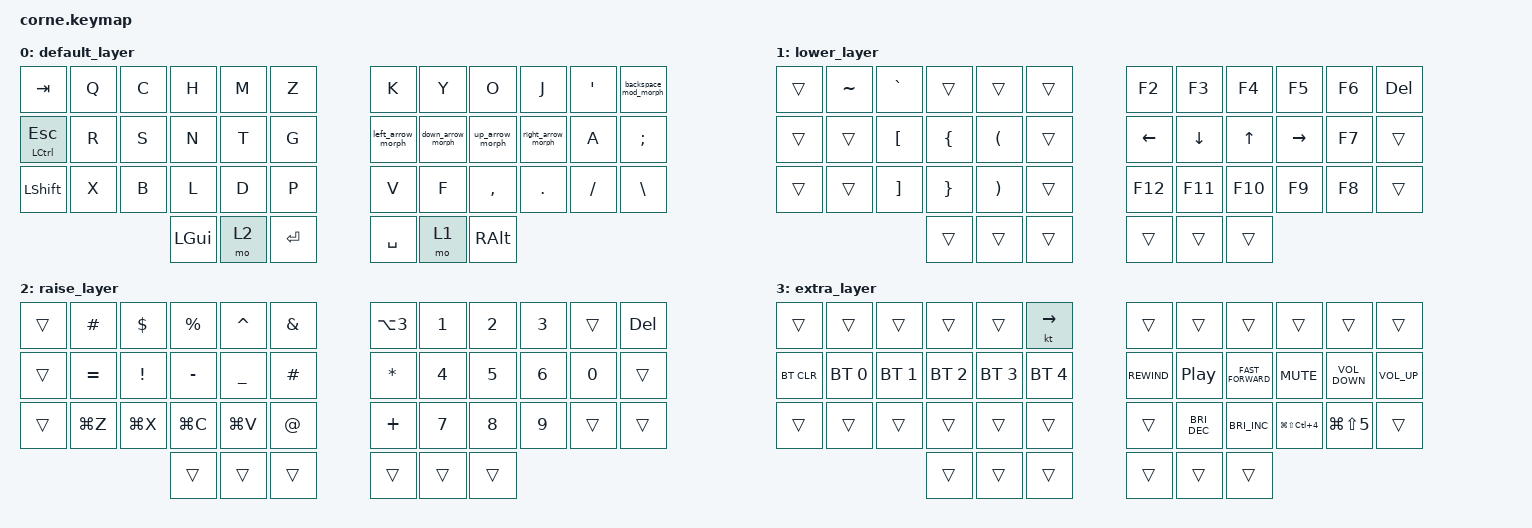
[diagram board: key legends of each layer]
/*
 * Copyright (c) 2020 The ZMK Contributors
 *
 * SPDX-License-Identifier: MIT
 */

#include <behaviors.dtsi>
#include <dt-bindings/zmk/bt.h>
#include <dt-bindings/zmk/keys.h>

/ {
    behaviors {
        lht_hp: long_hold_tap_hold_preferred {
            compatible = "zmk,behavior-hold-tap";
            label = "LONG HOLD TAP HOLD PREFERRED";
            #binding-cells = <2>;
            tapping_term_ms = <1000>;
            flavor = "hold-preferred";
            bindings = <&kp>, <&kp>;
        };

        left_arrow_morph: left_arrow_morph {
            compatible = "zmk,behavior-mod-morph";
            label = "LEFT_ARROW_MORPH";
            bindings = <&kp W>, <&kp LEFT>;

            #binding-cells = <0>;
            mods = <(MOD_RALT)>;
            keep-mods = <(MOD_RALT|MOD_LCTL|MOD_LSFT|MOD_LALT|MOD_LGUI|MOD_RCTL|MOD_RSFT|MOD_RGUI)>;
        };

        down_arrow_morph: down_arrow_morph {
            compatible = "zmk,behavior-mod-morph";
            label = "DOWN_ARROW_MORPH";
            bindings = <&kp U>, <&kp DOWN>;

            #binding-cells = <0>;
            mods = <(MOD_RALT)>;
            keep-mods = <(MOD_RALT|MOD_LCTL|MOD_LSFT|MOD_LALT|MOD_LGUI|MOD_RCTL|MOD_RSFT|MOD_RGUI)>;
        };

        up_arrow_morph: up_arrow_morph {
            compatible = "zmk,behavior-mod-morph";
            label = "UP_ARROW_MORPH";
            bindings = <&kp E>, <&kp UP>;

            #binding-cells = <0>;
            mods = <(MOD_RALT)>;
            keep-mods = <(MOD_RALT|MOD_LCTL|MOD_LALT|MOD_LSFT|MOD_LGUI|MOD_RCTL|MOD_RSFT|MOD_RGUI)>;
        };

        right_arrow_morph: right_arrow_morph {
            compatible = "zmk,behavior-mod-morph";
            label = "RIGHT_ARROW_MORPH";
            bindings = <&kp I>, <&kp RIGHT>;

            #binding-cells = <0>;
            mods = <(MOD_RALT)>;
            keep-mods = <(MOD_RALT|MOD_LCTL|MOD_LSFT|MOD_LALT|MOD_LGUI|MOD_RCTL|MOD_RSFT|MOD_RGUI)>;
        };

        backspace_mod_morph: backspace_mod_morph {
            compatible = "zmk,behavior-mod-morph";
            label = "BACKSPACE_MOD_MORPH";
            bindings = <&kp BACKSPACE>, <&kp DELETE>;

            #binding-cells = <0>;
            mods = <(MOD_LSFT)>;
            keep-mods = <(MOD_LCTL|MOD_LSFT|MOD_LALT|MOD_LGUI|MOD_RCTL|MOD_RSFT|MOD_RALT|MOD_RGUI)>;
        };
    };

    conditional_layers {
        compatible = "zmk,conditional-layers";

        tri_layer {
            if-layers = <1 2>;
            then-layer = <3>;
        };
    };

    keymap {
        compatible = "zmk,keymap";

        default_layer {
            // -----------------------------------------------------------------------------------------
            // |  TAB |  Q  |  W  |  E  |  R  |  T  |   |  Y  |  U   |  I  |  O  |  P  | BKSP |
            // | CTRL |  A  |  S  |  D  |  F  |  G  |   |  H  |  J   |  K  |  L  |  ;  |  '   |
            // | SHFT |  Z  |  X  |  C  |  V  |  B  |   |  N  |  M   |  ,  |  .  |  /  | ESC  |
            //                    | GUI | LWR | SPC |   | ENT | RSE  | ALT |

            bindings = <
&kp TAB            &kp Q  &kp C  &kp H     &kp M  &kp Z        &kp K              &kp Y              &kp O            &kp J               &kp SQT   &backspace_mod_morph
&lht_hp LCTRL ESC  &kp R  &kp S  &kp N     &kp T  &kp G        &left_arrow_morph  &down_arrow_morph  &up_arrow_morph  &right_arrow_morph  &kp A     &kp SEMI
&kp LSHIFT         &kp X  &kp B  &kp L     &kp D  &kp P        &kp V              &kp F              &kp COMMA        &kp DOT             &kp FSLH  &kp BACKSLASH
                                 &kp LGUI  &mo 2  &kp ENTER    &kp SPACE          &mo 1              &kp RALT
            >;
        };

        lower_layer {
            // -----------------------------------------------------------------------------------------
            // |  TAB |  1  |  2  |  3  |  4  |  5  |   |  6  |  7  |  8  |  9  |  0  | BKSP |
            // | BTCLR| BT1 | BT2 | BT3 | BT4 | BT5 |   | LFT | DWN |  UP | RGT |     |      |
            // | SHFT |     |     |     |     |     |   |     |     |     |     |     |      |
            //                    | GUI |     | SPC |   | ENT |     | ALT |

            bindings = <
&trans  &kp TILDE  &kp GRAVE          &trans           &trans                 &trans    &kp F2    &kp F3    &kp F4   &kp F5     &kp F6  &kp DELETE
&trans  &trans     &kp LEFT_BRACKET   &kp LEFT_BRACE   &kp LEFT_PARENTHESIS   &trans    &kp LEFT  &kp DOWN  &kp UP   &kp RIGHT  &kp F7  &trans
&trans  &trans     &kp RIGHT_BRACKET  &kp RIGHT_BRACE  &kp RIGHT_PARENTHESIS  &trans    &kp F12   &kp F11   &kp F10  &kp F9     &kp F8  &trans
                                      &trans           &trans                 &trans    &trans    &trans    &trans
            >;
        };

        raise_layer {
            // -----------------------------------------------------------------------------------------
            // |  TAB |  !  |  @  |  #  |  $  |  %  |   |  ^  |  &  |  *  |  (  |  )  | BKSP |
            // | CTRL |     |     |     |     |     |   |  -  |  =  |  [  |  ]  |  \  |  `   |
            // | SHFT |     |     |     |     |     |   |  _  |  +  |  {  |  }  | "|" |  ~   |
            //                    | GUI |     | SPC |   | ENT |     | ALT |

            bindings = <
&trans  &kp HASH   &kp DLLR         &kp PRCNT  &kp CARET       &kp AMPERSAND    &kp LA(NUMBER_3)  &kp NUMBER_1  &kp NUMBER_2  &kp NUMBER_3  &trans        &kp DELETE
&trans  &kp EQUAL  &kp EXCLAMATION  &kp MINUS  &kp UNDERSCORE  &kp HASH         &kp ASTERISK      &kp NUMBER_4  &kp NUMBER_5  &kp NUMBER_6  &kp NUMBER_0  &trans
&trans  &kp LG(Z)  &kp LG(X)        &kp LG(C)  &kp LG(V)       &kp AT_SIGN      &kp PLUS          &kp NUMBER_7  &kp NUMBER_8  &kp NUMBER_9  &trans        &trans
                                    &trans     &trans          &trans           &trans            &trans        &trans
            >;
        };

        extra_layer {
            bindings = <
&trans      &trans        &trans        &trans        &trans        &kt RIGHT_ARROW    &trans        &trans            &trans                &trans                    &trans                &trans
&bt BT_CLR  &bt BT_SEL 0  &bt BT_SEL 1  &bt BT_SEL 2  &bt BT_SEL 3  &bt BT_SEL 4       &kp C_REWIND  &kp C_PLAY_PAUSE  &kp C_FAST_FORWARD    &kp C_MUTE                &kp C_VOLUME_DOWN     &kp C_VOLUME_UP
&trans      &trans        &trans        &trans        &trans        &trans             &trans        &kp C_BRI_DEC     &kp C_BRIGHTNESS_INC  &kp LG(LS(LC(NUMBER_4)))  &kp LG(LS(NUMBER_5))  &trans
                                        &trans        &trans        &trans             &trans        &trans            &trans
            >;
        };
    };
};
